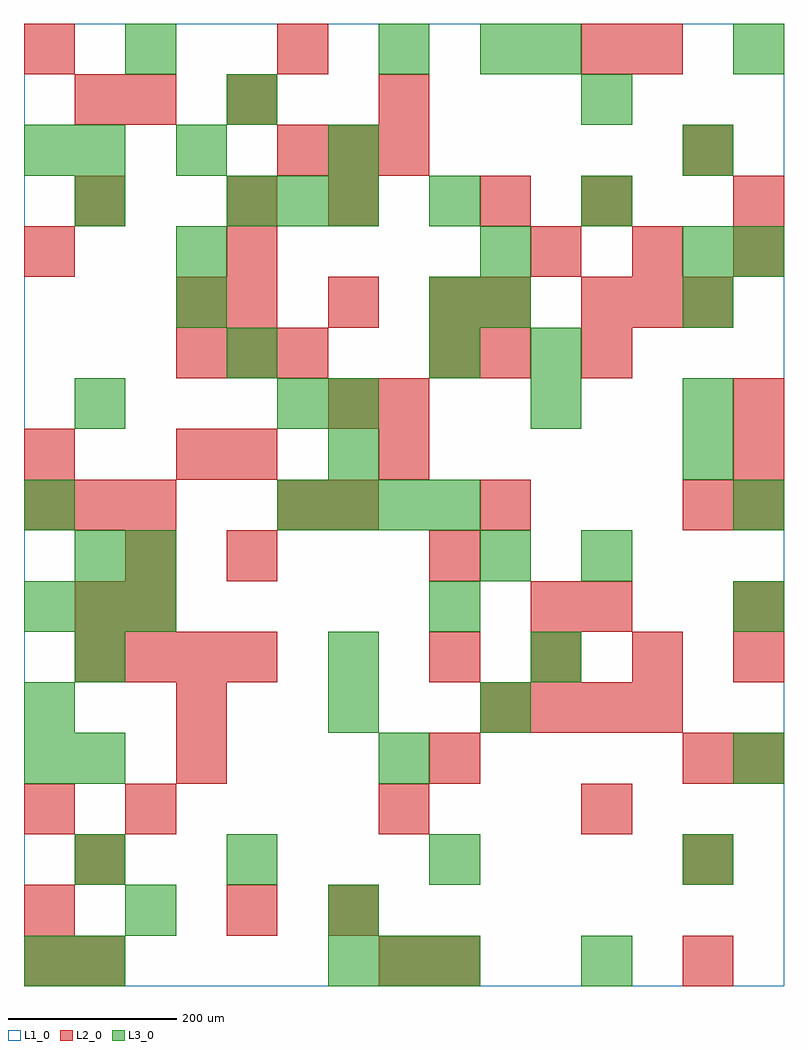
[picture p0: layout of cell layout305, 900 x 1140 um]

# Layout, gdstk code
import gdstk
lib = gdstk.Library(unit=1e-6, precision=1e-09)
def R(c, l, rs):  # rectangles x0, y0, x1, y1
    for r in rs: c.add(gdstk.rectangle(r[:2], r[2:], *l))
def A(c, l, x, y, w, h, nx, ny, dx, dy):  # array of equal rectangles
    R(c, l, [(x+i*dx, y+j*dy, x+i*dx+w, y+j*dy+h) for i in range(nx) for j in range(ny)])
L1_0 = (1, 0)
L2_0 = (2, 0)
L3_0 = (3, 0)

layout305 = lib.new_cell('layout305')
R(layout305, L1_0, [(0,0,900,1140)])
A(layout305, L2_0, 780, 120, 60, 60, 1, 3, 0, 420)
A(layout305, L2_0, 180, 240, 60, 60, 3, 1, 300, 0)
A(layout305, L2_0, 540, 300, 60, 60, 4, 1, 60, 0)
A(layout305, L2_0, 60, 360, 60, 60, 4, 1, 60, 0)
A(layout305, L2_0, 480, 360, 60, 60, 4, 1, 120, 0)
A(layout305, L2_0, 0, 540, 60, 60, 3, 1, 60, 0)
A(layout305, L2_0, 840, 540, 60, 60, 1, 3, 0, 60)
A(layout305, L2_0, 0, 600, 60, 60, 1, 3, 0, 240)
A(layout305, L2_0, 180, 720, 60, 60, 3, 1, 60, 0)
A(layout305, L2_0, 660, 720, 60, 60, 1, 3, 0, 180)
A(layout305, L2_0, 240, 780, 60, 60, 3, 1, 120, 0)
A(layout305, L2_0, 660, 780, 60, 60, 3, 1, 60, 0)
A(layout305, L2_0, 600, 840, 60, 60, 3, 1, 120, 0)
A(layout305, L2_0, 300, 960, 60, 60, 3, 1, 60, 0)
R(layout305, L2_0, [(0,0,60,60), (60,0,120,60), (420,0,480,60), (480,0,540,60), (780,0,840,60), (0,60,60,120), (240,60,300,120), (360,60,420,120), (60,120,120,180), (0,180,60,240), (120,180,180,240), (420,180,480,240), (660,180,720,240), (840,240,900,300), (180,300,240,360), (60,420,120,480), (120,420,180,480), (600,420,660,480), (660,420,720,480), (840,420,900,480), (120,480,180,540), (240,480,300,540), (480,480,540,540), (300,540,360,600), (360,540,420,600), (540,540,600,600), (180,600,240,660), (240,600,300,660), (420,600,480,660), (360,660,420,720), (420,660,480,720), (480,720,540,780), (540,720,600,780), (180,780,240,840), (540,780,600,840), (240,840,300,900), (60,900,120,960), (240,900,300,960), (360,900,420,960), (540,900,600,960), (840,900,900,960), (60,1020,120,1080), (120,1020,180,1080), (240,1020,300,1080), (420,1020,480,1080), (300,1080,360,1140), (720,1080,780,1140)])
A(layout305, L3_0, 60, 0, 60, 60, 1, 5, 0, 120)
A(layout305, L3_0, 360, 0, 60, 60, 3, 1, 60, 0)
A(layout305, L3_0, 480, 120, 60, 60, 1, 3, 0, 300)
A(layout305, L3_0, 0, 420, 60, 60, 3, 1, 60, 0)
A(layout305, L3_0, 300, 540, 60, 60, 4, 1, 60, 0)
A(layout305, L3_0, 240, 900, 60, 60, 3, 1, 60, 0)
R(layout305, L3_0, [(0,0,60,60), (660,0,720,60), (120,60,180,120), (360,60,420,120), (240,120,300,180), (780,120,840,180), (0,240,60,300), (420,240,480,300), (840,240,900,300), (0,300,60,360), (360,300,420,360), (540,300,600,360), (360,360,420,420), (600,360,660,420), (840,420,900,480), (120,480,180,540), (540,480,600,540), (660,480,720,540), (0,540,60,600), (840,540,900,600), (360,600,420,660), (780,600,840,660), (60,660,120,720), (300,660,360,720), (360,660,420,720), (600,660,660,720), (780,660,840,720), (240,720,300,780), (600,720,660,780), (180,780,240,840), (480,780,540,840), (540,780,600,840), (780,780,840,840), (180,840,240,900), (540,840,600,900), (780,840,840,900), (840,840,900,900), (60,900,120,960), (480,900,540,960), (660,900,720,960), (0,960,60,1020), (60,960,120,1020), (180,960,240,1020), (360,960,420,1020), (780,960,840,1020), (240,1020,300,1080), (660,1020,720,1080), (120,1080,180,1140), (420,1080,480,1140), (540,1080,600,1140), (600,1080,660,1140), (840,1080,900,1140)])

lib.write_gds('layout305.gds')
